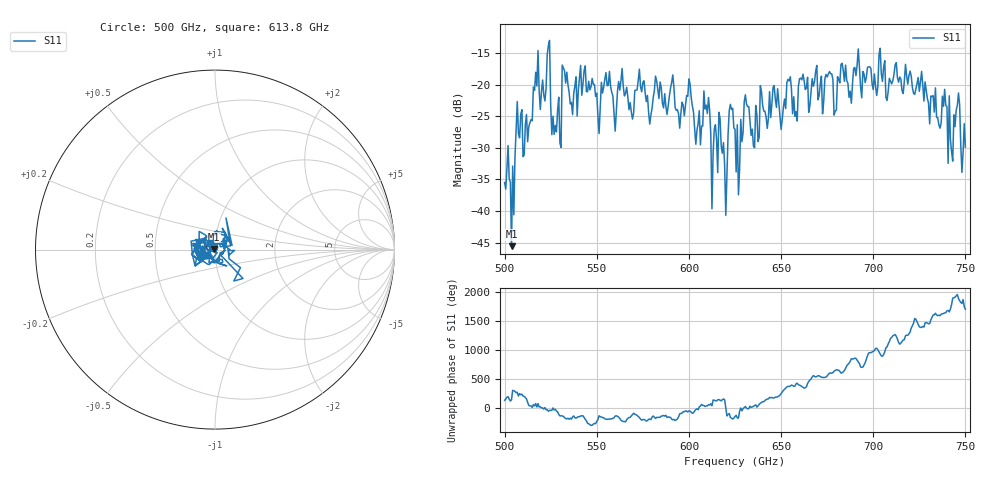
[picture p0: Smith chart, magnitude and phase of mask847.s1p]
!Created with skrf (http://scikit-rf.org).
# GHz S MA R 50.0
!freq magS11 angS11
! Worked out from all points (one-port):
!   401 points, 500 GHz to 750 GHz, reference 50 ohm
!   lowest |S11| = -45.6 dB at 503.8 GHz (marker M1), VSWR 1.01, Z = 49.6 + j0.357 ohm
!   |S11| at or under -10 dB: start of sweep to end of sweep
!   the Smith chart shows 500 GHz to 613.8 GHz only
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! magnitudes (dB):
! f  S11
! 500 GHz  -35.5
! 503.8 GHz  -45.6
! 507.5 GHz  -27.7
! 513.8 GHz  -26.0
! 516.9 GHz  -18.0
! 523.8 GHz  -13.8
! 526.9 GHz  -27.9
! 531.2 GHz  -16.9
! 532.5 GHz  -17.8
! 550.6 GHz  -25.0
! 562.5 GHz  -20.9
! 593.8 GHz  -23.9
! 609.4 GHz  -23.2
! 619.4 GHz  -32.7
! 622.5 GHz  -23.1
! 625 GHz  -27.0
! 626.2 GHz  -26.3
! 631.2 GHz  -23.1
! 634.4 GHz  -27.0
! 640 GHz  -23.3
! 656.2 GHz  -24.6
! 687.5 GHz  -21.0
! 718.8 GHz  -19.9
! 735.6 GHz  -26.4
! 738.8 GHz  -20.7
! 741.9 GHz  -28.7
! 745.6 GHz  -23.3
! 750 GHz  -29.9
